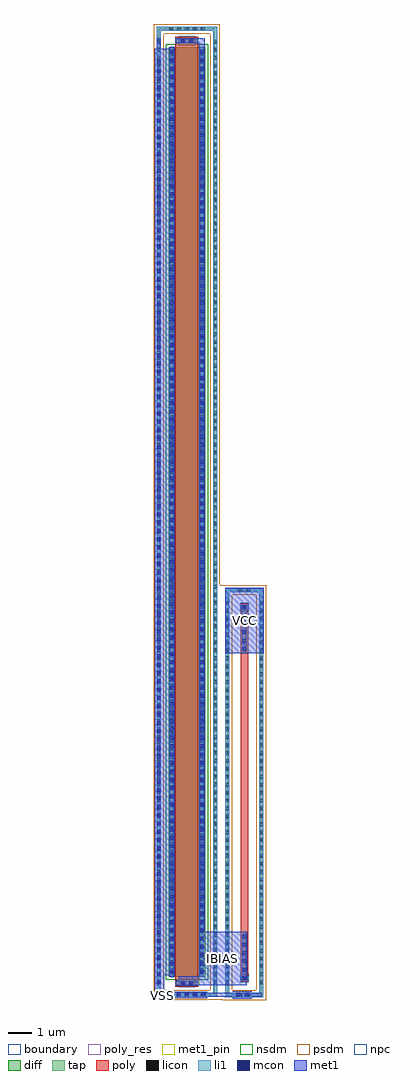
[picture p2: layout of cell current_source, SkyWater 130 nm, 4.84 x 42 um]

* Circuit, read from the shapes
.subckt current_source IBIAS VCC VSS
XM1 IBIAS IBIAS VSS VSS sky130_fd_pr__nfet_01v8 w=40 l=1
R2 VCC IBIAS sky130_fd_pr__res_generic_po w=0.33 l=12
.ends

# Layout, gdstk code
import gdstk
lib = gdstk.Library(unit=1e-6, precision=1e-09)
def R(c, l, rs):  # rectangles x0, y0, x1, y1
    for r in rs: c.add(gdstk.rectangle(r[:2], r[2:], *l))
def A(c, l, x, y, w, h, nx, ny, dx, dy):  # array of equal rectangles
    R(c, l, [(x+i*dx, y+j*dy, x+i*dx+w, y+j*dy+h) for i in range(nx) for j in range(ny)])
diff = (65, 20)
tap = (65, 44)
poly_res = (66, 13)
poly = (66, 20)
licon = (66, 44)
li1 = (67, 20)
mcon = (67, 44)
met1_pin = (68, 16)
met1 = (68, 20)
nsdm = (93, 44)
psdm = (94, 20)
npc = (95, 20)
boundary = (235, 4)

sky130_fd_pr__nfet_01v8_ = lib.new_cell('sky130_fd_pr__nfet_01v8_Q7E5KY')
R(sky130_fd_pr__nfet_01v8_, diff, [(-0.79,-20,0.79,20)])
R(sky130_fd_pr__nfet_01v8_, tap, [(-1.3,-20.87,1.3,-20.7), (-1.3,-20.7,-1.13,20.7), (1.13,-20.7,1.3,20.7), (-1.3,20.7,1.3,20.87)])
R(sky130_fd_pr__nfet_01v8_, poly, [(-0.5,-20.44,0.5,20.44)])
A(sky130_fd_pr__nfet_01v8_, licon, -0.765, -20.87, 0.17, 0.17, 5, 2, 0.34, 41.57)
A(sky130_fd_pr__nfet_01v8_, licon, -1.3, -20.315, 0.17, 0.17, 1, 120, 0, 0.34)
A(sky130_fd_pr__nfet_01v8_, licon, 1.13, -20.315, 0.17, 0.17, 1, 120, 0, 0.34)
A(sky130_fd_pr__nfet_01v8_, licon, -0.73, -19.805, 0.17, 0.17, 1, 117, 0, 0.34)
A(sky130_fd_pr__nfet_01v8_, licon, 0.56, -19.805, 0.17, 0.17, 1, 117, 0, 0.34)
R(sky130_fd_pr__nfet_01v8_, licon, [(-0.255,-20.36,-0.085,-20.19), (0.085,-20.36,0.255,-20.19), (-0.255,20.19,-0.085,20.36), (0.085,20.19,0.255,20.36)])
R(sky130_fd_pr__nfet_01v8_, li1, [(-1.3,-20.87,1.3,-20.7), (-1.3,-20.7,-1.13,20.7), (1.13,-20.7,1.3,20.7), (-0.5,-20.36,0.5,-20.19), (-0.73,-20.02,-0.56,20.02), (0.56,-20.02,0.73,20.02), (-0.5,20.19,0.5,20.36), (-1.3,20.7,1.3,20.87)])
A(sky130_fd_pr__nfet_01v8_, mcon, -0.73, -19.885, 0.17, 0.17, 1, 111, 0, 0.36)
A(sky130_fd_pr__nfet_01v8_, mcon, 0.56, -19.885, 0.17, 0.17, 1, 111, 0, 0.36)
R(sky130_fd_pr__nfet_01v8_, mcon, [(-0.265,-20.36,-0.095,-20.19), (0.095,-20.36,0.265,-20.19), (-0.265,20.19,-0.095,20.36), (0.095,20.19,0.265,20.36)])
R(sky130_fd_pr__nfet_01v8_, met1, [(-0.48,-20.39,0.48,-20.16), (-0.76,-20,-0.53,20), (0.53,-20,0.76,20), (-0.48,20.16,0.48,20.39)])
R(sky130_fd_pr__nfet_01v8_, nsdm, [(-0.915,-20.125,0.915,20.125)])
R(sky130_fd_pr__nfet_01v8_, psdm, [(-1.425,-20.995,1.425,-20.575), (-1.425,-20.575,-1.005,20.575), (1.005,-20.575,1.425,20.575), (-1.425,20.575,1.425,20.995)])
R(sky130_fd_pr__nfet_01v8_, npc, [(-0.355,-20.46,0.355,-20.09), (-0.355,20.09,0.355,20.46)])
R(sky130_fd_pr__nfet_01v8_, boundary, [(-1.21,-20.78,1.21,20.78)])

sky130_fd_pr__res_generi = lib.new_cell('sky130_fd_pr__res_generic_po_A9B8VS')
R(sky130_fd_pr__res_generi, tap, [(-0.815,-8.8,0.815,-8.63), (-0.815,-8.63,-0.645,8.63), (0.645,-8.63,0.815,8.63), (-0.815,8.63,0.815,8.8)])
R(sky130_fd_pr__res_generi, poly_res, [(-0.165,-6,0.165,6)])
R(sky130_fd_pr__res_generi, poly, [(-0.165,-8.15,0.165,8.15)])
A(sky130_fd_pr__res_generi, licon, -0.815, -8.245, 0.17, 0.17, 1, 49, 0, 0.34)
A(sky130_fd_pr__res_generi, licon, 0.645, -8.245, 0.17, 0.17, 1, 49, 0, 0.34)
R(sky130_fd_pr__res_generi, licon, [(-0.255,-8.8,-0.085,-8.63), (0.085,-8.8,0.255,-8.63), (-0.085,-8.07,0.085,-7.9), (-0.085,7.9,0.085,8.07), (-0.255,8.63,-0.085,8.8), (0.085,8.63,0.255,8.8)])
R(sky130_fd_pr__res_generi, li1, [(-0.815,-8.8,0.815,-8.63), (-0.815,-8.63,-0.645,8.63), (0.645,-8.63,0.815,8.63), (-0.165,-8.07,0.165,-7.9), (-0.085,-7.9,0.085,-6.085), (-0.085,6.085,0.085,7.9), (-0.165,7.9,0.165,8.07), (-0.815,8.63,0.815,8.8)])
A(sky130_fd_pr__res_generi, mcon, -0.085, -8.065, 0.17, 0.17, 1, 6, 0, 0.36)
A(sky130_fd_pr__res_generi, mcon, -0.085, 6.09, 0.17, 0.17, 1, 6, 0, 0.36)
R(sky130_fd_pr__res_generi, met1, [(-0.115,-8.13,0.115,-6.025), (-0.115,6.025,0.115,8.13)])
R(sky130_fd_pr__res_generi, psdm, [(-0.94,-8.925,0.94,-8.505), (-0.94,-8.505,-0.52,8.505), (0.52,-8.505,0.94,8.505), (-0.94,8.505,0.94,8.925)])
R(sky130_fd_pr__res_generi, npc, [(-0.185,-8.17,0.185,-7.8), (-0.185,7.8,0.185,8.17)])
R(sky130_fd_pr__res_generi, boundary, [(-0.73,-8.715,0.73,8.715)])

current_source = lib.new_cell('current_source')
R(current_source, li1, [(0.39,2.91,2.03,3.08), (3.26,2.91,3.95,3.08), (-0.09,3.39,0.08,43.27)])
A(current_source, mcon, 0.405, 2.91, 0.17, 0.17, 5, 1, 0.36, 0)
A(current_source, mcon, -0.09, 3.445, 0.17, 0.17, 1, 111, 0, 0.36)
R(current_source, mcon, [(3.34,2.91,3.51,3.08), (3.7,2.91,3.87,3.08)])
R(current_source, met1_pin, [(-0.17,2.84,0.49,3.14), (1.74,3.41,3.78,5.72), (2.86,17.7,4.51,20.51)])
R(current_source, met1, [(3.18,2.82,4.01,2.91), (-0.17,2.84,2.08,2.91), (-0.17,2.91,4.43,3.08), (-0.17,3.08,2.08,3.14), (3.18,3.08,4.01,3.16), (-0.17,3.14,0.23,3.84), (0.79,3.41,3.78,3.63), (0.85,3.63,3.78,3.8), (1.74,3.8,3.78,5.72), (-0.17,3.84,0.65,43.72), (2.86,17.7,4.51,20.51), (1.74,43.68,1.97,43.94), (-0.09,43.72,0.08,44.17), (1.6,43.94,1.97,44.17)])
R(current_source, psdm, [(2.635,2.785,2.745,20.625)])
current_source.add(gdstk.Reference(sky130_fd_pr__nfet_01v8_, (1.21,23.78)))
current_source.add(gdstk.Reference(sky130_fd_pr__res_generi, (3.685,11.7)))
current_source.add(gdstk.Label('VSS', (0.16,2.99), layer=68, texttype=5))
current_source.add(gdstk.Label('VCC', (3.685,19.105), layer=68, texttype=5))
current_source.add(gdstk.Label('IBIAS', (2.76,4.565), layer=68, texttype=5))

lib.write_gds('current_source.gds')
